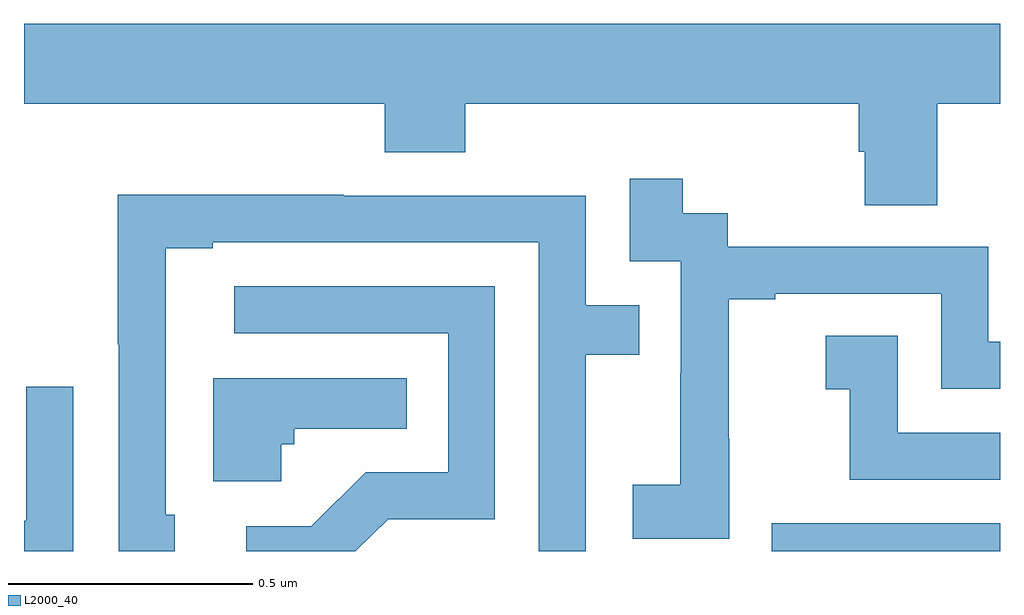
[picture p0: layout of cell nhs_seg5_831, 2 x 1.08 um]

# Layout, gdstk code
import gdstk
lib = gdstk.Library(unit=1e-6, precision=1e-09)
def R(c, l, rs):  # rectangles x0, y0, x1, y1
    for r in rs: c.add(gdstk.rectangle(r[:2], r[2:], *l))
def P(c, l, *ps):  # polygons
    for p in ps: c.add(gdstk.Polygon(p, *l))
L2000_40 = (2000, 40)

nhs_seg5_831 = lib.new_cell('nhs_seg5_831')
R(nhs_seg5_831, L2000_40, [(122.532,899.799,123,899.856)])
P(nhs_seg5_831, L2000_40, [(122.871,900.716),(123,900.716),(123,900.88),(121,900.88),(121,900.716),(121.739,900.716),(121.739,900.617),(121.904,900.617),(121.904,900.716),(122.711,900.716),(122.711,900.618),(122.723,900.618),(122.723,900.508),(122.871,900.508)],
  [(122.445,900.031),(122.444,900.031),(122.444,900.315),(122.539,900.315),(122.539,900.327),(122.88,900.327),(122.88,900.132),(123,900.132),(123,900.228),(122.976,900.228),(122.976,900.423),(122.442,900.423),(122.442,900.492),(122.35,900.492),(122.35,900.562),(122.241,900.562),(122.241,900.393),(122.346,900.393),(122.346,900.164),(122.345,900.164),(122.345,899.935),(122.247,899.935),(122.247,899.825),(122.445,899.825)],
  [(121.309,899.874),(121.29,899.874),(121.29,900.42),(121.387,900.42),(121.387,900.432),(122.055,900.432),(122.055,899.799),(122.151,899.799),(122.151,900.202),(122.261,900.202),(122.261,900.303),(122.151,900.303),(122.151,900.528),(121.655,900.528),(121.655,900.53),(121.192,900.53),(121.192,900.223),(121.194,900.223),(121.194,899.799),(121.309,899.799)],
  [(121.746,899.865),(121.965,899.865),(121.965,900.342),(121.431,900.342),(121.431,900.246),(121.869,900.246),(121.869,899.961),(121.7,899.961),(121.589,899.85),(121.455,899.85),(121.455,899.799),(121.679,899.799)],
  [(123,900.042),(122.79,900.042),(122.79,900.241),(122.643,900.241),(122.643,900.131),(122.692,900.131),(122.692,899.946),(123,899.946)],
  [(121.527,900.018),(121.554,900.018),(121.554,900.05),(121.784,900.05),(121.784,900.154),(121.388,900.154),(121.388,899.942),(121.527,899.942)],
  [(121.101,900.136),(121.005,900.136),(121.005,899.862),(121,899.862),(121,899.799),(121.101,899.799)])

lib.write_gds('nhs_seg5_831.gds')
